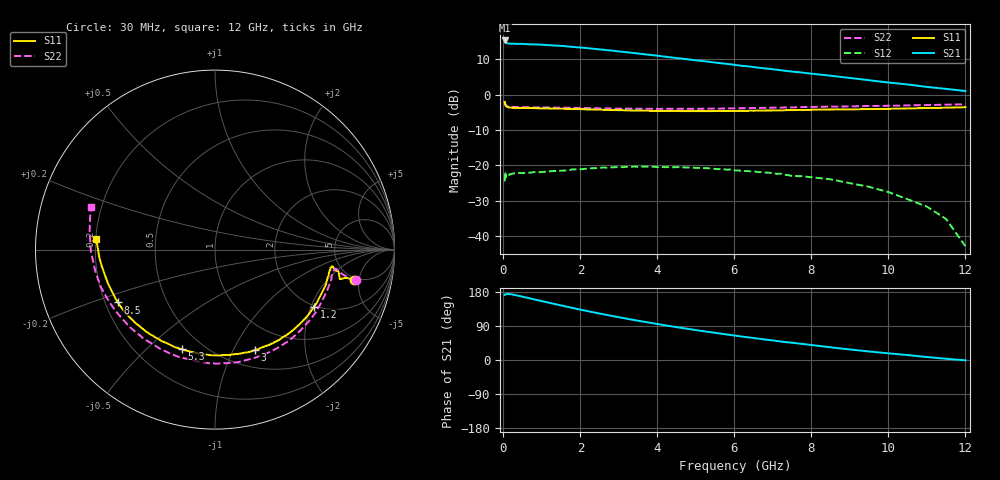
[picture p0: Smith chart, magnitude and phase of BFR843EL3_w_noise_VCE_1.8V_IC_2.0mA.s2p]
! Infineon Technologies  Discrete & RF Semiconductors
! BFR843EL3
! VCE =  1.8 V,  IC =  2.0 mA
! Common Emitter S-Parameters:  Aug 2013
# GHz  S  MA  R  50
!  f  S11  S21  S12  S22
! GHz  MAG  ANG  MAG  ANG  MAG  ANG  MAG  ANG
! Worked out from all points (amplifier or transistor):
!   103 points, 30 MHz to 12 GHz, reference 50 ohm
!   highest |S21| = 15.3 dB at 30 MHz (marker M1)
!   |S21| within 3 dB of that: start of sweep to 2.913 GHz
!   unconditionally stable (mu >= 1): 138.8 MHz to 496.7 MHz; 7.249 GHz to end of sweep
!   at 400 MHz: K = 1.01, MAG = 17.8 dB, |S12| = -22.2 dB
!   at 3.7 GHz: K = 0.73, MSG = 15.9 dB, |S12| = -20.4 dB
!   at 12 GHz: K = 15.81, MAG = 6.9 dB, |S12| = -42.9 dB
!   lowest NFmin = 1.16 dB at 900 MHz
!   S11 on the Smith chart (normalised r, x): 30 MHz: 4.68, -4.19; 1.2 GHz: 1.96, -2.11; 3 GHz: 0.69, -1.22; 5.3 GHz: 0.38, -0.65; 8.5 GHz: 0.25, -0.24; 12 GHz: 0.20, +0.04
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0.03  0.7899 -12.3  5.84 171.8  0.0592 39.8  0.805 -12.3
0.04  0.7478 -12.1  5.652 172.3  0.0664 30.4  0.7643 -12.0
0.05  0.7149 -13.3  5.575 173.3  0.081 20.3  0.7417 -11.4
0.07  0.6874 -10.0  5.408 173.5  0.0717 18.6  0.7072 -10.2
0.15  0.6615 -8.3  5.263 174.1  0.0734 8.4  0.6747 -9.1
0.6  0.6472 -16.1  5.18 164.7  0.0788 4.5  0.6653 -19.9
1.2  0.6369 -30.0  5.008 150.7  0.0824 3.5  0.6578 -37.6
1.6  0.6305 -39.0  4.85 141.7  0.0845 1.8  0.6535 -48.6
2.1  0.6215 -50.0  4.587 130.8  0.0893 0.7  0.6462 -62.5
2.6  0.6107 -60.6  4.32 120.6  0.0933 -3.1  0.6396 -74.9
3  0.602 -68.5  4.085 112.9  0.0946 -6.0  0.6357 -84.3
3.4  0.5961 -76.4  3.878 105.4  0.0962 -8.8  0.6337 -93.2
4.1  0.5893 -88.6  3.498 93.3  0.095 -15.5  0.6303 -106.9
4.7  0.5852 -99.1  3.2 83.5  0.0936 -20.1  0.632 -117.9
5.3  0.5854 -108.4  2.936 74.5  0.0912 -25.1  0.6348 -127.6
6.1  0.5905 -120.2  2.597 63.2  0.0846 -32.8  0.6423 -139.5
7.2  0.6001 -135.3  2.216 48.9  0.0763 -40.5  0.6556 -153.8
8.5  0.6167 -151.5  1.852 33.5  0.0635 -51.7  0.6772 -169.0
9.5  0.6253 -162.5  1.6 22.5  0.0497 -61.7  0.6912 -178.9
10.5  0.6384 -172.1  1.393 13.0  0.0332 -72.2  0.7049 172.4
11.5  0.6534 179.0  1.206 3.2  0.0174 -84.2  0.7215 164.5
12  0.665 175.1  1.126 -0.8  0.0072 -82.0  0.7303 161.1
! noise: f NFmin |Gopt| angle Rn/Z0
0.45  1.17  0.35  5  0.32
0.9  1.16  0.34  17  0.3
1.5  1.18  0.35  28  0.27
1.9  1.2  0.35  33  0.26
2.4  1.23  0.36  42  0.25
3.5  1.3  0.35  65  0.22
5.5  1.47  0.37  100  0.18
8  1.7  0.43  142  0.11
10  1.88  0.46  196  0.08
